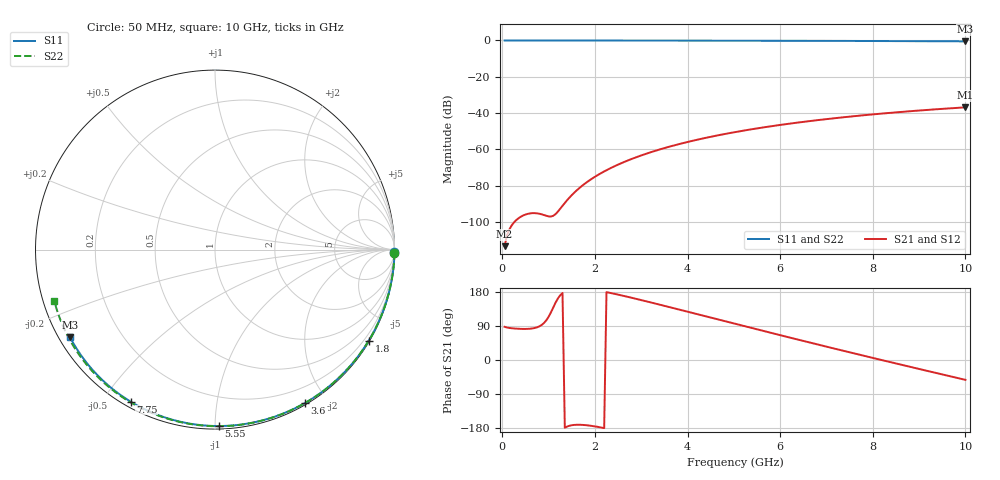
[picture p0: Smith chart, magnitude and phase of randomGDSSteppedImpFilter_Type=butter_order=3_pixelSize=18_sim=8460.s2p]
! freq	dB(S11)	phase(S11)	dB(S12)	phase(S12)
!  dB(S21)	phase(S21)	dB(S22)	phase(S22)
!S-par simulation data
#  GHz  S  DB  R 50
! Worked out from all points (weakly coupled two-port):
!   200 points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, 50 MHz to 10 GHz, reference 50 ohm
!   highest |S21| = -36.85 dB at 10 GHz (marker M1); lowest = -113.3 dB at 50 MHz (marker M2)
!   lowest |S11| = -0.5 dB at 10 GHz (marker M3), VSWR 34.54, Z = 1.56 - j13.9 ohm
!   |S11| at or under -10 dB: nowhere
!   |S22| runs from -0.5 to 0.0 dB; largest |S21 - S12| = 0
!   S11 on the Smith chart (normalised r, x): 50 MHz: open; 1.8 GHz: 0.03, -3.66; 3.6 GHz: 0.02, -1.75; 5.55 GHz: 0.02, -1.02; 7.75 GHz: 0.02, -0.59; 10 GHz: 0.03, -0.28
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0.05  -0.00 -0.9  -113.34 87.6  -113.34 87.6  -0.00 -1.0
0.45  -0.01 -7.8  -96.44 81.9  -96.44 81.9  -0.01 -8.5
0.85  -0.02 -14.6  -95.80 92.5  -95.80 92.5  -0.02 -16.1
1.25  -0.03 -21.4  -92.75 170.7  -92.75 170.7  -0.03 -23.5
1.7  -0.04 -28.9  -80.54 -171.0  -80.54 -171.0  -0.04 -31.8
1.75  -0.04 -29.8  -79.53 -171.4  -79.53 -171.4  -0.04 -32.7
1.8  -0.04 -30.6  -78.56 -171.9  -78.56 -171.9  -0.04 -33.6
2.1  -0.05 -35.6  -73.58 -177.3  -73.58 -177.3  -0.05 -39.0
2.3  -0.05 -38.8  -70.83 177.9  -70.83 177.9  -0.05 -42.6
2.5  -0.05 -42.1  -68.40 172.6  -68.40 172.6  -0.06 -46.2
2.9  -0.06 -48.6  -64.26 161.1  -64.26 161.1  -0.07 -53.2
3.4  -0.08 -56.5  -60.04 146.0  -60.04 146.0  -0.08 -61.9
3.6  -0.08 -59.6  -58.58 139.9  -58.58 139.9  -0.09 -65.3
4.3  -0.10 -70.4  -54.17 118.2  -54.17 118.2  -0.11 -76.9
5.05  -0.13 -81.5  -50.38 94.8  -50.38 94.8  -0.14 -89.0
5.55  -0.15 -88.8  -48.25 79.4  -48.25 79.4  -0.16 -96.8
6.1  -0.17 -96.6  -46.19 62.5  -46.19 62.5  -0.19 -105.2
6.7  -0.20 -104.9  -44.22 44.3  -44.22 44.3  -0.22 -114.1
7.75  -0.28 -119.1  -41.33 12.9  -41.33 12.9  -0.30 -129.5
8.35  -0.33 -127.0  -39.94 -4.8  -39.94 -4.8  -0.35 -138.2
9.2  -0.41 -138.2  -38.22 -29.4  -38.22 -29.4  -0.44 -150.4
10  -0.50 -148.8  -36.85 -52.4  -36.85 -52.4  -0.54 -162.1
